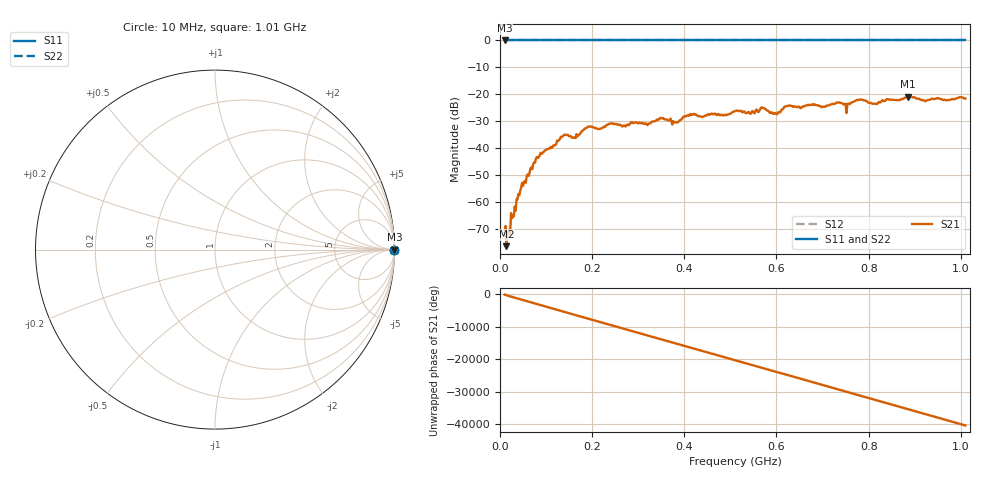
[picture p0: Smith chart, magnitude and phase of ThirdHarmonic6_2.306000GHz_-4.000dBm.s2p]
! 8/17/2025 3:09:55 AM
! C:\ANRITSUVNA\TEMP\TEMP.S2P
! CHANNEL.1
! TR.MEASUREMENT
! RAW.DATA
! RF.CORRECTION.OFF
! AVERAGING.OFF
! IF.BANDWIDTH: 5KHZ
! SWEEPTYPE:  FREQ.SWEEP(Linear)
! Reference Plane Port Info
! PORT:  PORT1  PORT2
! DISTANCE:  0  m  0  m
! TIME:  0  s  0  s
! PHASE.OFFSET:  0  deg.  0  deg.
! LOSS:  0  dB  0  dB
! REF.LOSS:  0  dB  0  dB
! REF.FREQ:  0  Hz  0  Hz
! Power Info
! POWER:  -20  dBm  -20  dBm
! EFF.POWER:  -20  dBm  -20  dBm
! SOURCE.ATTEN:  0  dB  0  dB
! TEST.ATTEN:  0  dB  0  dB
# GHZ S RI R 50.0
! FREQ.GHZ  S11RE  S11IM  S21RE  S21IM  S12RE  S12IM  S22RE  S22IM
!; PortSelection: Port_12
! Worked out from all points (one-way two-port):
!   501 points, 10 MHz to 1.01 GHz, reference 50 ohm
!   highest |S21| = -20.89 dB at 886 MHz (marker M1); lowest = -76.5 dB at 14 MHz (marker M2)
!   lowest |S11| = 0.0 dB at 10 MHz (marker M3)
!   |S11| at or under -10 dB: nowhere
!   |S22| runs from 0.0 to 0.0 dB; largest |S21 - S12| = 1.1
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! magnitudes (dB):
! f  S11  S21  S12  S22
! 10 MHz  0.0  -72.7  0.0  0.0
! 14 MHz  0.0  -76.5  0.0  0.0
! 18 MHz  0.0  -71.4  0.0  0.0
! 28 MHz  0.0  -65.2  0.0  0.0
! 44 MHz  0.0  -55.8  0.0  0.0
! 78 MHz  0.0  -43.9  0.0  0.0
! 136 MHz  0.0  -35.7  0.0  0.0
! 160 MHz  0.0  -36.1  0.0  0.0
! 178 MHz  0.0  -33.8  0.0  0.0
! 194 MHz  0.0  -32.0  0.0  0.0
! 322 MHz  0.0  -31.0  0.0  0.0
! 344 MHz  0.0  -29.5  0.0  0.0
! 378 MHz  0.0  -30.3  0.0  0.0
! 416 MHz  0.0  -27.7  0.0  0.0
! 510 MHz  0.0  -26.3  0.0  0.0
! 570 MHz  0.0  -25.0  0.0  0.0
! 598 MHz  0.0  -27.1  0.0  0.0
! 622 MHz  0.0  -24.5  0.0  0.0
! 678 MHz  0.0  -23.8  0.0  0.0
! 844 MHz  0.0  -22.0  0.0  0.0
! 886 MHz  0.0  -20.9  0.0  0.0
! 1.01 GHz  0.0  -21.6  0.0  0.0
